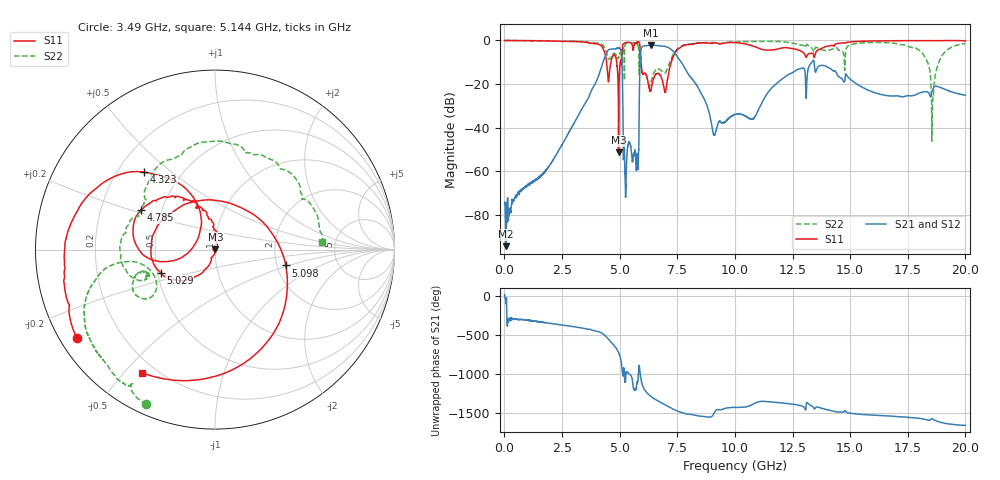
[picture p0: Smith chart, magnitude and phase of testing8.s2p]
!Akoustis s2p Touchstone File
!Script Version: 1.0
!Creation Data: 5/30/2023 at 02:26 PM
!DEEMBEDDING STATE: OFF
! Freq Mag(S11) Angle(S11)Mag(S21) Angle(S21)Mag(S12) Angle(S12)Mag(S22) Angle(S22)
# GHz S MA R 50
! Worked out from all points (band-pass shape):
!   15898 points, 10 MHz to 20 GHz, reference 50 ohm
!   highest |S21| = -2.15 dB at 6.343 GHz (marker M1); lowest = -94.2 dB at 69.94 MHz (marker M2)
!   |S21| within 3 dB of the highest: 4.458 GHz to 5.084 GHz (625.7 MHz wide, 13.1 % of centre); 5.914 GHz to 7.339 GHz (1.425 GHz wide, 21.5 % of centre)
!   lowest |S11| = -51.2 dB at 4.952 GHz (marker M3), VSWR 1.01, Z = 50.2 + j0.143 ohm
!   |S11| at or under -10 dB: 4.434 GHz to 4.62 GHz (185.5 MHz wide, 4.1 % of centre); 4.877 GHz to 5.024 GHz (147 MHz wide, 2.97 % of centre); 5.924 GHz to 7.236 GHz (1.313 GHz wide, 20 % of centre)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
!   |S22| runs from -46.1 to 0.0 dB; largest |S21 - S12| = 0.0013
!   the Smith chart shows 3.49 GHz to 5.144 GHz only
!   S11 on the Smith chart (normalised r, x): 3.49 GHz: 0.05, -0.29; 4.323 GHz: 0.31, +0.41; 4.785 GHz: 0.38, +0.22; 5.029 GHz: 0.52, -0.15; 5.098 GHz: 2.23, -0.47; 5.144 GHz: 0.15, -0.56
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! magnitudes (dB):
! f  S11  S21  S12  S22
! 10 MHz  0.0  -75.1  -74.2  0.0
! 39.97 MHz  0.0  -80.0  -79.2  0.0
! 69.94 MHz  0.0  -94.2  -93.8  0.0
! 129.9 MHz  0.0  -81.9  -81.4  0.0
! 449.6 MHz  -0.1  -71.8  -72.4  -0.1
! 1.589 GHz  -0.2  -61.9  -61.8  -0.2
! 3.49 GHz  -0.8  -28.9  -28.9  -0.5
! 4.323 GHz  -4.7  -8.7  -8.7  -2.8
! 4.785 GHz  -6.6  -3.9  -3.9  -5.9
! 4.952 GHz  -51.2  -3.6  -3.6  -7.7
! 5.029 GHz  -9.6  -4.0  -4.0  -5.6
! 5.098 GHz  -7.9  -7.7  -7.7  -5.1
! 5.144 GHz  -2.0  -33.0  -33.0  -4.4
! 5.255 GHz  -1.0  -69.3  -68.9  -1.6
! 5.635 GHz  -1.9  -51.9  -51.9  -1.2
! 5.8 GHz  -0.8  -57.3  -57.1  -2.2
! 5.931 GHz  -11.0  -4.0  -4.0  -11.2
! 6.343 GHz  -23.1  -2.1  -2.2  -19.6
! 7.419 GHz  -5.4  -6.2  -6.2  -4.9
! 9.14 GHz  -1.1  -42.9  -42.9  -1.0
! 13.59 GHz  -4.6  -12.3  -12.3  -3.4
! 20 GHz  -0.2  -25.1  -25.1  -1.4
